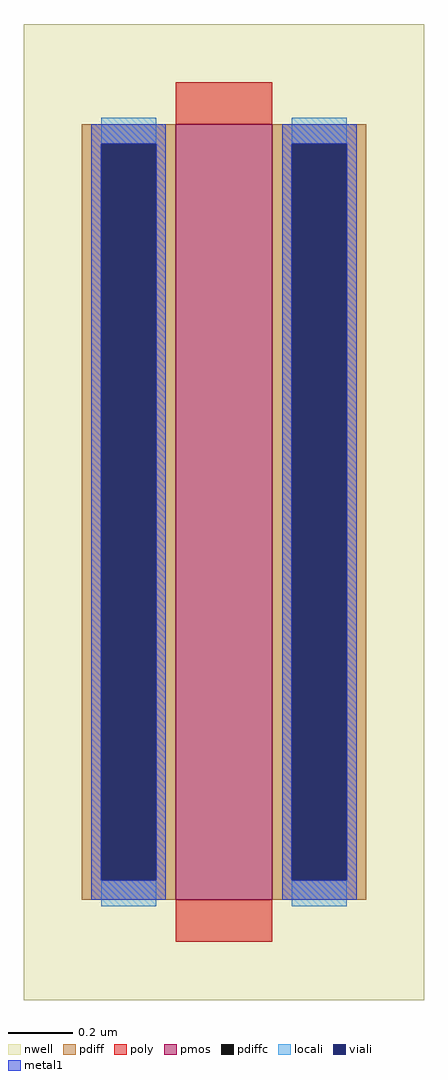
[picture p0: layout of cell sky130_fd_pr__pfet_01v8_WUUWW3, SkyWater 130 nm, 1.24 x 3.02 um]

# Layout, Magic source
magic
tech sky130A
<< nwell >>
rect -62 -151 62 151
<< pmos >>
rect -15 -120 15 120
<< pdiff >>
rect -44 114 -15 120
rect -44 -114 -38 114
rect -21 -114 -15 114
rect -44 -120 -15 -114
rect 15 114 44 120
rect 15 -114 21 114
rect 38 -114 44 114
rect 15 -120 44 -114
<< pdiffc >>
rect -38 -114 -21 114
rect 21 -114 38 114
<< poly >>
rect -15 120 15 133
rect -15 -133 15 -120
<< locali >>
rect -38 114 -21 122
rect -38 -122 -21 -114
rect 21 114 38 122
rect 21 -122 38 -114
<< viali >>
rect -38 -114 -21 114
rect 21 -114 38 114
<< metal1 >>
rect -41 114 -18 120
rect -41 -114 -38 114
rect -21 -114 -18 114
rect -41 -120 -18 -114
rect 18 114 41 120
rect 18 -114 21 114
rect 38 -114 41 114
rect 18 -120 41 -114
<< properties >>
string gencell sky130_fd_pr__pfet_01v8
string library sky130
string parameters w 2.4 l 0.3 m 1 nf 1 diffcov 100 polycov 100 guard 0 glc 1 grc 1 gtc 1 gbc 1 tbcov 100 rlcov 100 topc 0 botc 0 poverlap 0 doverlap 1 lmin 0.15 wmin 0.42 compatible {sky130_fd_pr__pfet_01v8  sky130_fd_pr__pfet_01v8_lvt sky130_fd_pr__pfet_01v8_hvt  sky130_fd_pr__pfet_g5v0d10v5} full_metal 1 viasrc 100 viadrn 100 viagate 100 viagb 0 viagr 0 viagl 0 viagt 0
<< end >>
